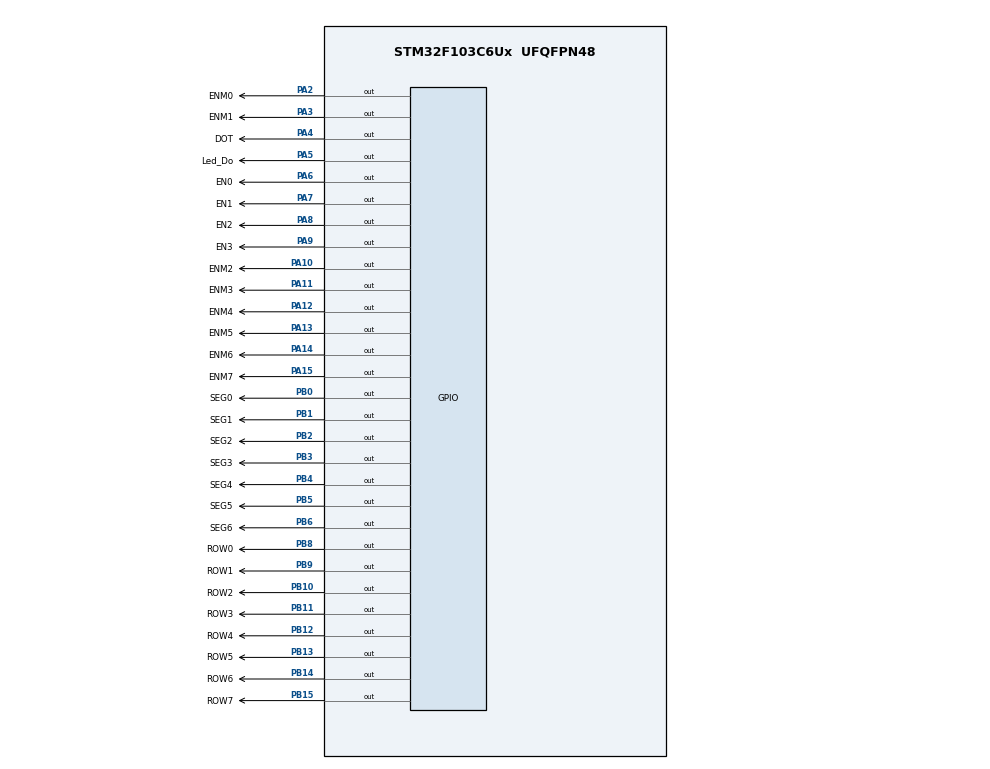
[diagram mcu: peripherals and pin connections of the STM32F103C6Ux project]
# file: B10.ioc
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Mcu.Family=STM32F1
Mcu.Name=STM32F103C6Ux
Mcu.Package=UFQFPN48
NVIC.PriorityGroup=NVIC_PRIORITYGROUP_4
NVIC.TIM2_IRQn=true\:0\:0\:false\:false\:true\:true\:true
PA10.GPIO_Label=ENM2
PA10.Signal=GPIO_Output
PA11.GPIO_Label=ENM3
PA11.Signal=GPIO_Output
PA12.GPIO_Label=ENM4
PA12.Signal=GPIO_Output
PA13.GPIO_Label=ENM5
PA13.Signal=GPIO_Output
PA14.GPIO_Label=ENM6
PA14.Signal=GPIO_Output
PA15.GPIO_Label=ENM7
PA15.Signal=GPIO_Output
PA2.GPIO_Label=ENM0
PA2.Signal=GPIO_Output
PA3.GPIO_Label=ENM1
PA3.Signal=GPIO_Output
PA4.GPIO_Label=DOT
PA4.Signal=GPIO_Output
PA5.GPIO_Label=Led_Do
PA5.Signal=GPIO_Output
PA6.GPIO_Label=EN0
PA6.Signal=GPIO_Output
PA7.GPIO_Label=EN1
PA7.Signal=GPIO_Output
PA8.GPIO_Label=EN2
PA8.Signal=GPIO_Output
PA9.GPIO_Label=EN3
PA9.Signal=GPIO_Output
PB0.GPIO_Label=SEG0
PB0.Signal=GPIO_Output
PB1.GPIO_Label=SEG1
PB1.Signal=GPIO_Output
PB10.GPIO_Label=ROW2
PB10.Signal=GPIO_Output
PB11.GPIO_Label=ROW3
PB11.Signal=GPIO_Output
PB12.GPIO_Label=ROW4
PB12.Signal=GPIO_Output
PB13.GPIO_Label=ROW5
PB13.Signal=GPIO_Output
PB14.GPIO_Label=ROW6
PB14.Signal=GPIO_Output
PB15.GPIO_Label=ROW7
PB15.Signal=GPIO_Output
PB2.GPIO_Label=SEG2
PB2.Signal=GPIO_Output
PB3.GPIO_Label=SEG3
PB3.Signal=GPIO_Output
PB4.GPIO_Label=SEG4
PB4.Signal=GPIO_Output
PB5.GPIO_Label=SEG5
PB5.Signal=GPIO_Output
PB6.GPIO_Label=SEG6
PB6.Signal=GPIO_Output
PB8.GPIO_Label=ROW0
PB8.Signal=GPIO_Output
PB9.GPIO_Label=ROW1
PB9.Signal=GPIO_Output
ProjectManager.HeapSize=0x200
ProjectManager.StackSize=0x400
ProjectManager.TargetToolchain=STM32CubeIDE
RCC.APB1Freq_Value=8000000
RCC.APB2Freq_Value=8000000
TIM2.Period=9
TIM2.Prescaler=7999
VP_SYS_VS_ND.Mode=No_Debug
VP_TIM2_VS_ClockSourceINT.Mode=Internal
board=custom

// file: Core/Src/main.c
/* USER CODE BEGIN Header */
/**
  ******************************************************************************
  * @file           : main.c
  * @brief          : Main program body
  ******************************************************************************
  * @attention
  *
  * Copyright (c) 2025 STMicroelectronics.
  * All rights reserved.
  *
  * This software is licensed under BSD 3-Clause license.
  * You may obtain a copy of the License at:
  *                        opensource.org/licenses/BSD-3-Clause
  *
  ******************************************************************************
  */
/* USER CODE END Header */
#include "main.h"

/* USER CODE BEGIN Includes */
#include "software_timer.h"
/* USER CODE END Includes */

/* USER CODE BEGIN PD */
#define LED_MATRIX_SIZE 8
/* USER CODE END PD */

TIM_HandleTypeDef htim2;

/* USER CODE BEGIN PV */
int display_mode = 2;
uint8_t digits_buffer[4] = {1, 6, 0, 0};
uint16_t matrix_col[8] = {GPIO_PIN_2, GPIO_PIN_3, GPIO_PIN_10, GPIO_PIN_11, GPIO_PIN_12, GPIO_PIN_13, GPIO_PIN_14, GPIO_PIN_15};
int row = 0;
uint8_t matrix_buffer[8] = {0xFF, 0xFF, 0x83, 0xED, 0xED, 0x83, 0xFF, 0xFF};
/* USER CODE END PV */

void SystemClock_Config(void);
static void MX_GPIO_Init(void);
static void MX_TIM2_Init(void);
/* USER CODE BEGIN PFP */
void displayDigit(int digit);
void updateLEDMatrix(int index);
void moveMatrix(void);
/* USER CODE END PFP */

int main(void)
{

    /* MCU Configuration--------------------------------------------------------*/
    HAL_Init();

    /* Configure system clock */
    SystemClock_Config();

    /* Initialize peripherals */
    MX_GPIO_Init();
    MX_TIM2_Init();

    /* USER CODE BEGIN 2 */
    HAL_TIM_Base_Start_IT(&htim2);

    setTimer1(100);
    setTimer2(25);
    setTimer3(1);
    setTimer4(25);

    HAL_GPIO_WritePin(EN0_GPIO_Port, EN0_Pin, GPIO_PIN_RESET);
    HAL_GPIO_WritePin(EN1_GPIO_Port, EN1_Pin, GPIO_PIN_SET);
    HAL_GPIO_WritePin(EN2_GPIO_Port, EN2_Pin, GPIO_PIN_SET);
    HAL_GPIO_WritePin(EN3_GPIO_Port, EN3_Pin, GPIO_PIN_SET);
    displayDigit(1);

    HAL_GPIO_WritePin(GPIOA, GPIO_PIN_2|GPIO_PIN_3|GPIO_PIN_10|GPIO_PIN_11| GPIO_PIN_12|GPIO_PIN_13|GPIO_PIN_14|GPIO_PIN_15, GPIO_PIN_SET);
    HAL_GPIO_WritePin(GPIOB, GPIO_PIN_8|GPIO_PIN_9|GPIO_PIN_10|GPIO_PIN_11| GPIO_PIN_12|GPIO_PIN_13|GPIO_PIN_14|GPIO_PIN_15, GPIO_PIN_SET);

    /* USER CODE END 2 */

    /* Infinite loop */
    while (1)
    {
        if (t1_flag == 1) {
            HAL_GPIO_TogglePin(Led_Do_GPIO_Port, Led_Do_Pin);
            HAL_GPIO_TogglePin(DOT_GPIO_Port, DOT_Pin);
            setTimer1(100);
        }
        if (t2_flag == 1) {
            setTimer2(25);
            switch (display_mode) {
            	case 0:
                    HAL_GPIO_TogglePin(EN2_GPIO_Port, EN2_Pin);
                    HAL_GPIO_TogglePin(EN3_GPIO_Port, EN3_Pin);
                    displayDigit(digits_buffer[3]);
                    display_mode = 1;
                    break;
                case 1:
                    HAL_GPIO_TogglePin(EN3_GPIO_Port, EN3_Pin);
                    HAL_GPIO_TogglePin(EN0_GPIO_Port, EN0_Pin);
                    displayDigit(digits_buffer[0]);
                    display_mode = 2;
                    break;
                case 2:
                    HAL_GPIO_TogglePin(EN0_GPIO_Port, EN0_Pin);
                    HAL_GPIO_TogglePin(EN1_GPIO_Port, EN1_Pin);
                    displayDigit(digits_buffer[1]);
                    display_mode = 3;
                    break;
                case 3:
                    HAL_GPIO_TogglePin(EN1_GPIO_Port, EN1_Pin);
                    HAL_GPIO_TogglePin(EN2_GPIO_Port, EN2_Pin);
                    displayDigit(digits_buffer[2]);
                    display_mode = 0;
                    break;
                default:
                    break;
            }
        }

        if (t3_flag == 1) {
            updateLEDMatrix(row);
            row = (row + 1) % LED_MATRIX_SIZE;
            setTimer3(1);
        }

        if (t4_flag == 1) {
            moveMatrix();
            setTimer4(25);
        }
    }
}

void SystemClock_Config(void)
{
    RCC_OscInitTypeDef RCC_OscInitStruct = {0};
    RCC_ClkInitTypeDef RCC_ClkInitStruct = {0};

    RCC_OscInitStruct.OscillatorType = RCC_OSCILLATORTYPE_HSI;
    RCC_OscInitStruct.HSIState = RCC_HSI_ON;
    RCC_OscInitStruct.HSICalibrationValue = RCC_HSICALIBRATION_DEFAULT;
    RCC_OscInitStruct.PLL.PLLState = RCC_PLL_NONE;
    if (HAL_RCC_OscConfig(&RCC_OscInitStruct) != HAL_OK) {
        Error_Handler();
    }

    RCC_ClkInitStruct.ClockType = RCC_CLOCKTYPE_HCLK|RCC_CLOCKTYPE_SYSCLK|
                                  RCC_CLOCKTYPE_PCLK1|RCC_CLOCKTYPE_PCLK2;
    RCC_ClkInitStruct.SYSCLKSource = RCC_SYSCLKSOURCE_HSI;
    RCC_ClkInitStruct.AHBCLKDivider = RCC_SYSCLK_DIV1;
    RCC_ClkInitStruct.APB1CLKDivider = RCC_HCLK_DIV1;
    RCC_ClkInitStruct.APB2CLKDivider = RCC_HCLK_DIV1;

    if (HAL_RCC_ClockConfig(&RCC_ClkInitStruct, FLASH_LATENCY_0) != HAL_OK) {
        Error_Handler();
    }
}

static void MX_TIM2_Init(void)
{
    TIM_ClockConfigTypeDef sClockSourceConfig = {0};
    TIM_MasterConfigTypeDef sMasterConfig = {0};

    htim2.Instance = TIM2;
    htim2.Init.Prescaler = 7999;
    htim2.Init.CounterMode = TIM_COUNTERMODE_UP;
    htim2.Init.Period = 9;
    htim2.Init.ClockDivision = TIM_CLOCKDIVISION_DIV1;
    htim2.Init.AutoReloadPreload = TIM_AUTORELOAD_PRELOAD_DISABLE;
    if (HAL_TIM_Base_Init(&htim2) != HAL_OK) {
        Error_Handler();
    }

    sClockSourceConfig.ClockSource = TIM_CLOCKSOURCE_INTERNAL;
    if (HAL_TIM_ConfigClockSource(&htim2, &sClockSourceConfig) != HAL_OK) {
        Error_Handler();
    }

    sMasterConfig.MasterOutputTrigger = TIM_TRGO_RESET;
    sMasterConfig.MasterSlaveMode = TIM_MASTERSLAVEMODE_DISABLE;
    if (HAL_TIMEx_MasterConfigSynchronization(&htim2, &sMasterConfig) != HAL_OK) {
        Error_Handler();
    }
}

static void MX_GPIO_Init(void)
{
    GPIO_InitTypeDef GPIO_InitStruct = {0};

    __HAL_RCC_GPIOA_CLK_ENABLE();
    __HAL_RCC_GPIOB_CLK_ENABLE();

    HAL_GPIO_WritePin(GPIOA, ENM0_Pin|ENM1_Pin|DOT_Pin|Led_Do_Pin|
                           EN0_Pin|EN1_Pin|EN2_Pin|EN3_Pin|
                           ENM2_Pin|ENM3_Pin|ENM4_Pin|ENM5_Pin|
                           ENM6_Pin|ENM7_Pin, GPIO_PIN_RESET);

    HAL_GPIO_WritePin(GPIOB, SEG0_Pin|SEG1_Pin|SEG2_Pin|ROW2_Pin|
                           ROW3_Pin|ROW4_Pin|ROW5_Pin|ROW6_Pin|
                           ROW7_Pin|SEG3_Pin|SEG4_Pin|SEG5_Pin|
                           SEG6_Pin|ROW0_Pin|ROW1_Pin, GPIO_PIN_RESET);

    GPIO_InitStruct.Pin = ENM0_Pin|ENM1_Pin|DOT_Pin|Led_Do_Pin|
                          EN0_Pin|EN1_Pin|EN2_Pin|EN3_Pin|
                          ENM2_Pin|ENM3_Pin|ENM4_Pin|ENM5_Pin|
                          ENM6_Pin|ENM7_Pin;
    GPIO_InitStruct.Mode = GPIO_MODE_OUTPUT_PP;
    GPIO_InitStruct.Pull = GPIO_NOPULL;
    GPIO_InitStruct.Speed = GPIO_SPEED_FREQ_LOW;
    HAL_GPIO_Init(GPIOA, &GPIO_InitStruct);

    GPIO_InitStruct.Pin = SEG0_Pin|SEG1_Pin|SEG2_Pin|ROW2_Pin|
                          ROW3_Pin|ROW4_Pin|ROW5_Pin|ROW6_Pin|
                          ROW7_Pin|SEG3_Pin|SEG4_Pin|SEG5_Pin|
                          SEG6_Pin|ROW0_Pin|ROW1_Pin;
    GPIO_InitStruct.Mode = GPIO_MODE_OUTPUT_PP;
    GPIO_InitStruct.Pull = GPIO_NOPULL;
    GPIO_InitStruct.Speed = GPIO_SPEED_FREQ_LOW;
    HAL_GPIO_Init(GPIOB, &GPIO_InitStruct);
}

/* USER CODE BEGIN 4 */
void displayDigit(int digit)
{
    if (digit < 0 || digit > 9) return;
    const uint8_t segment_patterns[10] = {0xC0, 0xF9, 0xA4, 0xB0, 0x99, 0x92, 0x82, 0xF8, 0x80, 0x90};
    for (int i = 0; i < 7; i++) {
        HAL_GPIO_WritePin(GPIOB, GPIO_PIN_0 << i, (segment_patterns[digit] >> i) & 1);
    }
}

void updateLEDMatrix(int index)
{
    HAL_GPIO_WritePin(GPIOA, ENM0_Pin|ENM1_Pin|ENM2_Pin|ENM3_Pin|ENM4_Pin|ENM5_Pin|ENM6_Pin|ENM7_Pin, GPIO_PIN_SET);

    switch (index) {
        case 0:
        	HAL_GPIO_WritePin(GPIOA, ENM0_Pin, GPIO_PIN_RESET);
        	break;
        case 1:
        	HAL_GPIO_WritePin(GPIOA, ENM1_Pin, GPIO_PIN_RESET);
        	break;
        case 2:
        	HAL_GPIO_WritePin(GPIOA, ENM2_Pin, GPIO_PIN_RESET);
        	break;
        case 3:
        	HAL_GPIO_WritePin(GPIOA, ENM3_Pin, GPIO_PIN_RESET);
        	break;
        case 4:
        	HAL_GPIO_WritePin(GPIOA, ENM4_Pin, GPIO_PIN_RESET);
        	break;
        case 5:
        	HAL_GPIO_WritePin(GPIOA, ENM5_Pin, GPIO_PIN_RESET);
        	break;
        case 6:
        	HAL_GPIO_WritePin(GPIOA, ENM6_Pin, GPIO_PIN_RESET);
        	break;
        case 7:
        	HAL_GPIO_WritePin(GPIOA, ENM7_Pin, GPIO_PIN_RESET);
        	break;
        default:
        	break;
    }

    for (int i = 0; i < LED_MATRIX_SIZE; i++) {
        HAL_GPIO_WritePin(GPIOB, GPIO_PIN_8 << i, (matrix_buffer[index] >> i) & 1);
    }
}

void moveMatrix(void)
{
    for (int i = 0; i < LED_MATRIX_SIZE; i++) {
        matrix_buffer[i] = (matrix_buffer[i] >> 1) | ((matrix_buffer[i] & 0x01) << 7);
    }
}

void HAL_TIM_PeriodElapsedCallback(TIM_HandleTypeDef *htim)
{
    updateTimers();
}
/* USER CODE END 4 */

/**
  * @brief  Error Handler
  * @retval None
  */
void Error_Handler(void)
{
    __disable_irq();
    while (1) {}
}

/************************ (C) COPYRIGHT STMicroelectronics *****END OF FILE****/
